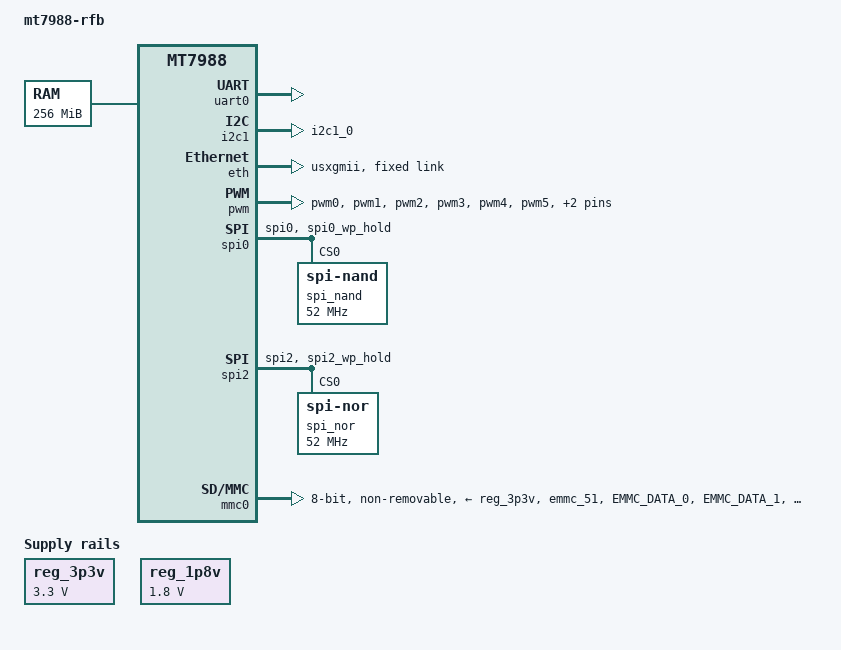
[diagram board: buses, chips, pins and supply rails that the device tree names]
// SPDX-License-Identifier: GPL-2.0
/*
 * Copyright (c) 2022 MediaTek Inc.
 * Author: Sam Shih <sam.shih@mediatek.com>
 */

/dts-v1/;
#include "mt7988.dtsi"
#include <dt-bindings/gpio/gpio.h>

/ {
	model = "mt7988-rfb";
	compatible = "mediatek,mt7988-rfb";

	chosen {
		stdout-path = &uart0;
	};

	memory@40000000 {
		device_type = "memory";
		reg = <0 0x40000000 0 0x10000000>;
	};

	reg_3p3v: regulator-3p3v {
		compatible = "regulator-fixed";
		regulator-name = "fixed-3.3V";
		regulator-min-microvolt = <3300000>;
		regulator-max-microvolt = <3300000>;
		regulator-boot-on;
		regulator-always-on;
	};

	reg_1p8v: regulator-1p8v {
		compatible = "regulator-fixed";
		regulator-name = "fixed-1.8V";
		regulator-min-microvolt = <1800000>;
		regulator-max-microvolt = <1800000>;
		regulator-boot-on;
		regulator-always-on;
	};
};

&uart0 {
	status = "okay";
};

&i2c1 {
	pinctrl-names = "default";
	pinctrl-0 = <&i2c1_pins>;
	status = "okay";
};

&eth {
	status = "okay";
	mediatek,gmac-id = <0>;
	phy-mode = "usxgmii";
	mediatek,switch = "mt7988";

	fixed-link {
		speed = <1000>;
		full-duplex;
		pause;
	};
};

&pinctrl {
	i2c1_pins: i2c1-pins {
		mux {
			function = "i2c";
			groups = "i2c1_0";
		};
	};

	pwm_pins: pwm-pins {
		mux {
			function = "pwm";
			groups = "pwm0", "pwm1", "pwm2", "pwm3", "pwm4",
				 "pwm5", "pwm6", "pwm7";
		};
	};

	spi0_pins: spi0-pins {
		mux {
			function = "spi";
			groups = "spi0", "spi0_wp_hold";
		};
	};

	spi2_pins: spi2-pins {
		mux {
			function = "spi";
			groups = "spi2", "spi2_wp_hold";
		};
	};

	mmc0_pins_default: mmc0default {
		mux {
			function = "flash";
			groups =  "emmc_51";
		};

		conf-cmd-dat {
			pins = "EMMC_DATA_0", "EMMC_DATA_1", "EMMC_DATA_2",
			       "EMMC_DATA_3", "EMMC_DATA_4", "EMMC_DATA_5",
			       "EMMC_DATA_6", "EMMC_DATA_7", "EMMC_CMD";
			input-enable;
		};

		conf-clk {
			pins = "EMMC_CK";
		};

		conf-dsl {
			pins = "EMMC_DSL";
		};

		conf-rst {
			pins = "EMMC_RSTB";
		};
	};
};

&pwm {
	pinctrl-names = "default";
	pinctrl-0 = <&pwm_pins>;
	status = "okay";
};

&spi0 {
	pinctrl-names = "default";
	pinctrl-0 = <&spi0_pins>;
	#address-cells = <1>;
	#size-cells = <0>;
	status = "okay";
	must_tx;
	enhance_timing;
	dma_ext;
	ipm_design;
	support_quad;
	tick_dly = <2>;
	sample_sel = <0>;

	spi_nand@0 {
		compatible = "spi-nand";
		reg = <0>;
		spi-max-frequency = <52000000>;
	};
};

&spi2 {
	pinctrl-names = "default";
	pinctrl-0 = <&spi2_pins>;
	#address-cells = <1>;
	#size-cells = <0>;
	status = "okay";
	must_tx;
	enhance_timing;
	dma_ext;
	ipm_design;
	support_quad;
	tick_dly = <2>;
	sample_sel = <0>;

	spi_nor@0 {
		compatible = "jedec,spi-nor";
		reg = <0>;
		spi-max-frequency = <52000000>;
	};
};

&mmc0 {
	pinctrl-names = "default";
	pinctrl-0 = <&mmc0_pins_default>;
	max-frequency = <52000000>;
	bus-width = <8>;
	cap-mmc-highspeed;
	cap-mmc-hw-reset;
	vmmc-supply = <&reg_3p3v>;
	vqmmc-supply = <&reg_1p8v>;
	non-removable;
	status = "okay";
};
